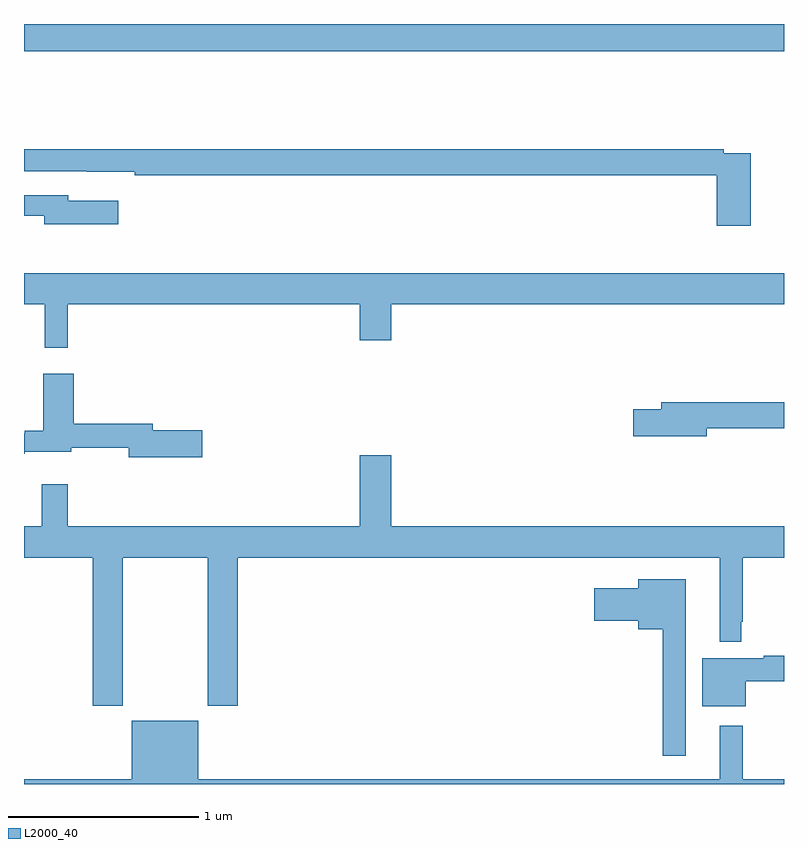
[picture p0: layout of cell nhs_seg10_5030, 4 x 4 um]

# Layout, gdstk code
import gdstk
lib = gdstk.Library(unit=1e-6, precision=1e-09)
def R(c, l, rs):  # rectangles x0, y0, x1, y1
    for r in rs: c.add(gdstk.rectangle(r[:2], r[2:], *l))
def P(c, l, *ps):  # polygons
    for p in ps: c.add(gdstk.Polygon(p, *l))
L2000_40 = (2000, 40)

nhs_seg10_5030 = lib.new_cell('nhs_seg10_5030')
R(nhs_seg10_5030, L2000_40, [(403,1260.356,407,1260.5)])
P(nhs_seg10_5030, L2000_40, [(406.824,1259.82),(406.682,1259.82),(406.682,1259.84),(403,1259.84),(403,1259.724),(403.33,1259.724),(403.33,1259.723),(403.582,1259.723),(403.582,1259.704),(406.646,1259.704),(406.646,1259.439),(406.824,1259.439)],
  [(403.495,1259.569),(403.234,1259.569),(403.234,1259.598),(403,1259.598),(403,1259.49),(403.106,1259.49),(403.106,1259.447),(403.495,1259.447)],
  [(403.231,1259.024),(404.768,1259.024),(404.768,1258.836),(404.932,1258.836),(404.932,1259.024),(407,1259.024),(407,1259.188),(403,1259.188),(403,1259.024),(403.109,1259.024),(403.109,1258.797),(403.231,1258.797)],
  [(403.939,1258.361),(403.678,1258.361),(403.678,1258.397),(403.262,1258.397),(403.262,1258.66),(403.1,1258.66),(403.1,1258.36),(403.004,1258.36),(403.004,1258.347),(403,1258.347),(403,1258.239),(403.004,1258.239),(403.004,1258.25),(403.249,1258.25),(403.249,1258.269),(403.55,1258.269),(403.55,1258.219),(403.939,1258.219)],
  [(406.594,1258.372),(407,1258.372),(407,1258.508),(406.355,1258.508),(406.355,1258.472),(406.206,1258.472),(406.206,1258.33),(406.594,1258.33)],
  [(403.521,1257.692),(403.966,1257.692),(403.966,1256.913),(404.126,1256.913),(404.126,1257.692),(406.661,1257.692),(406.661,1257.248),(406.776,1257.248),(406.776,1257.355),(406.783,1257.355),(406.783,1257.692),(407,1257.692),(407,1257.856),(404.932,1257.856),(404.932,1258.231),(404.768,1258.231),(404.768,1257.856),(403.229,1257.856),(403.229,1258.078),(403.094,1258.078),(403.094,1257.856),(403,1257.856),(403,1257.692),(403.361,1257.692),(403.361,1256.913),(403.521,1256.913)],
  [(406.483,1257.577),(406.232,1257.577),(406.232,1257.529),(406.002,1257.529),(406.002,1257.359),(406.232,1257.359),(406.232,1257.314),(406.362,1257.314),(406.362,1256.649),(406.483,1256.649)],
  [(406.798,1257.04),(407,1257.04),(407,1257.176),(406.894,1257.176),(406.894,1257.163),(406.571,1257.163),(406.571,1256.909),(406.798,1256.909)],
  [(407,1256.524),(406.783,1256.524),(406.783,1256.806),(406.661,1256.806),(406.661,1256.524),(403.918,1256.524),(403.918,1256.833),(403.568,1256.833),(403.568,1256.524),(403,1256.524),(403,1256.5),(407,1256.5)])

lib.write_gds('nhs_seg10_5030.gds')
